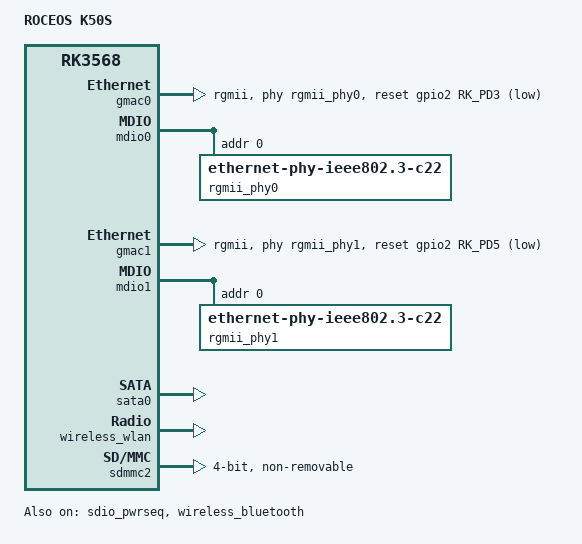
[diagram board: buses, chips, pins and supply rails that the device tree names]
// SPDX-License-Identifier: (GPL-2.0+ OR MIT)
/*
 * Copyright (c) 2020 Rockchip Electronics Co., Ltd.
 * Copyright (c) 2022 Flippy <flippy@sina.com>
 */

/dts-v1/;

#include "rk3568-roc-k50s.dtsi"

/ {
       model = "ROCEOS K50S";
        compatible = "ROCEOS,K50S","rockchip,rk3568","gmac_1v8";
        is_testing = "1";
        modified_time = "2024/06/08 21:02:10";
		eth_order =  "0001:11:00.0,0002:21:00.0,0000:01:00.0,fe010000.ethernet,fe2a0000.ethernet";
		kdebug = "0";

	hwmodel_id = "K50S";


    eth_driver = "r8125";
    hw_support = "hdmi,2.5g";

	aliases {
		ethernet0 = &gmac0;
		ethernet1 = &gmac1;
	};

};

&gmac0 {
	phy-mode = "rgmii";
	clock_in_out = "input";
	snps,reset-gpio = <&gpio2 RK_PD3 GPIO_ACTIVE_LOW>;
	snps,reset-active-high;
	/* Reset time is 20ms, 100ms for rtl8211f */
	snps,reset-delays-us = <0 20000 100000>;

	assigned-clocks = <&cru SCLK_GMAC0_RX_TX>, <&cru SCLK_GMAC0>;
	assigned-clock-parents = <&cru SCLK_GMAC0_RGMII_SPEED>, <&gmac0_clkin>;
	assigned-clock-rates = <0>, <125000000>, <25000000>;

	pinctrl-names = "default";
	pinctrl-0 = <&gmac0_miim
	&gmac0_tx_bus2
	&gmac0_rx_bus2
	&gmac0_rgmii_clk
	&gmac0_rgmii_bus
	&gmac0_clkinout>;
	tx_delay = <0x3c>;
	rx_delay = <0x2f>;
	phy-handle = <&rgmii_phy0>;
	status = "okay";
};
&mdio0 {
	rgmii_phy0: phy@0 {
		compatible = "ethernet-phy-ieee802.3-c22";
		reg = <0x0>;
	};
};


&gmac1 {
	phy-mode = "rgmii";
	clock_in_out = "input";
	snps,reset-gpio = <&gpio2 RK_PD5 GPIO_ACTIVE_LOW>;
	snps,reset-active-low;
	/* Reset time is 20ms, 100ms for rtl8211f */
	snps,reset-delays-us = <0 20000 100000>;

	assigned-clocks = <&cru SCLK_GMAC1_RX_TX>, <&cru SCLK_GMAC1>, <&cru CLK_MAC1_OUT>;
	assigned-clock-parents = <&cru SCLK_GMAC1_RGMII_SPEED>, <&gmac1_clkin>;
	assigned-clock-rates = <0>, <125000000>, <25000000>;

	pinctrl-names = "default";
	pinctrl-0 = <&gmac1m1_miim
	&gmac1m1_tx_bus2
	&gmac1m1_rx_bus2
	&gmac1m1_rgmii_clk
	&gmac1m1_rgmii_bus
	&eth1m1_pins
	&gmac1m1_clkinout>;

	tx_delay = <0x4f>;
	rx_delay = <0x26>;

	phy-handle = <&rgmii_phy1>;
	status = "okay";
};



&mdio1 {
	rgmii_phy1: phy@0 {
		compatible = "ethernet-phy-ieee802.3-c22";
		reg = <0x0>;
	};
};


&sata0 {
    status = "okay";
};

//配置WL_REG_ON引脚
&sdio_pwrseq {
    status = "okay";
    reset-gpios = <&gpio3 RK_PD5 GPIO_ACTIVE_LOW>;
    post-power-on-delay-ms = <200>;
};

// 配置WL_HOST_WAKE引脚，OOB模式时，该引脚必须配置
&wireless_wlan {
    pinctrl-names = "default";
    pinctrl-0 = <&wifi_host_wake_irq>;
    WIFI,host_wake_irq = <&gpio3 RK_PD4 GPIO_ACTIVE_HIGH>;
    wifi_chip_type = "ap6255";
    status = "okay";
};

&wireless_bluetooth {
    compatible = "bluetooth-platdata";
    clocks = <&rk809 1>;
    clock-names = "ext_clock";
    //wifi-bt-power-toggle;
    uart_rts_gpios = <&gpio2 RK_PB1 GPIO_ACTIVE_LOW>;
    pinctrl-names = "default", "rts_gpio";
    pinctrl-0 = <&uart8m0_rtsn>;
    pinctrl-1 = <&uart8_gpios>;
    BT,reset_gpio    = <&gpio4 RK_PC4 GPIO_ACTIVE_HIGH>;
    BT,wake_gpio     = <&gpio0 RK_PD5 GPIO_ACTIVE_HIGH>;
    BT,wake_host_irq = <&gpio0 RK_PD4 GPIO_ACTIVE_HIGH>;
    status = "okay";
};

// wifi
&sdmmc2 {
    max-frequency = <150000000>;
    supports-sdio;
    bus-width = <4>;
    disable-wp;
    cap-sd-highspeed;
    cap-sdio-irq;
    keep-power-in-suspend;
    mmc-pwrseq = <&sdio_pwrseq>;
    non-removable;
    pinctrl-names = "default";
    pinctrl-0 = <&sdmmc2m0_bus4 &sdmmc2m0_cmd &sdmmc2m0_clk>;
    sd-uhs-sdr104;
    status = "okay";
};

&uart2 {
	status = "disabled";
};

